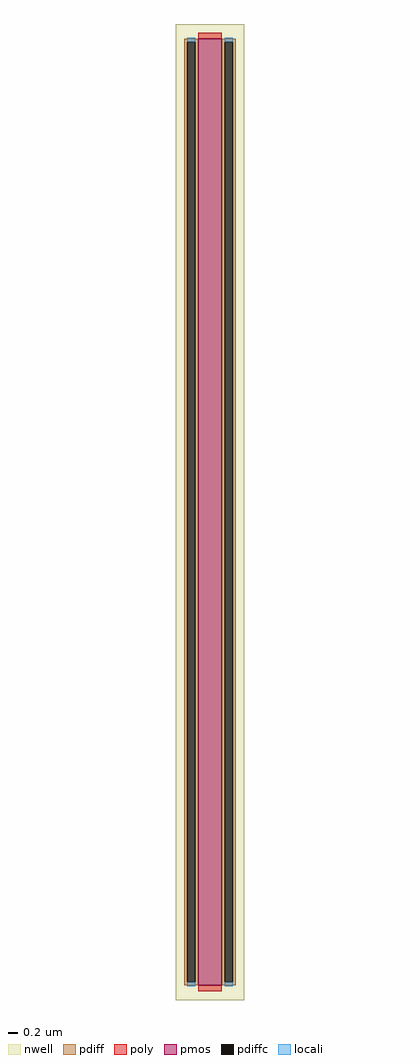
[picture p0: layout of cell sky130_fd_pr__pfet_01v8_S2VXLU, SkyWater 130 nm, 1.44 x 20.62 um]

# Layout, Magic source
magic
tech sky130A
<< nwell >>
rect -72 -1031 72 1031
<< pmos >>
rect -25 -1000 25 1000
<< pdiff >>
rect -54 994 -25 1000
rect -54 -994 -48 994
rect -31 -994 -25 994
rect -54 -1000 -25 -994
rect 25 994 54 1000
rect 25 -994 31 994
rect 48 -994 54 994
rect 25 -1000 54 -994
<< pdiffc >>
rect -48 -994 -31 994
rect 31 -994 48 994
<< poly >>
rect -25 1000 25 1013
rect -25 -1013 25 -1000
<< locali >>
rect -48 994 -31 1002
rect -48 -1002 -31 -994
rect 31 994 48 1002
rect 31 -1002 48 -994
<< properties >>
string gencell sky130_fd_pr__pfet_01v8
string library sky130
string parameters w 20 l .5 m 1 nf 1 diffcov 100 polycov 100 guard 0 glc 0 grc 0 gtc 0 gbc 0 tbcov 100 rlcov 100 topc 0 botc 0 poverlap 0 doverlap 0 lmin 0.15 wmin 0.42 compatible {sky130_fd_pr__pfet_01v8  sky130_fd_pr__pfet_01v8_lvt sky130_fd_pr__pfet_01v8_hvt  sky130_fd_pr__pfet_g5v0d10v5} full_metal 0 viasrc 0 viadrn 0 viagate 0 viagb 0 viagr 0 viagl 0 viagt 0
string sky130_fd_pr__pfet_01v8_S2VXLU parameters
<< end >>
